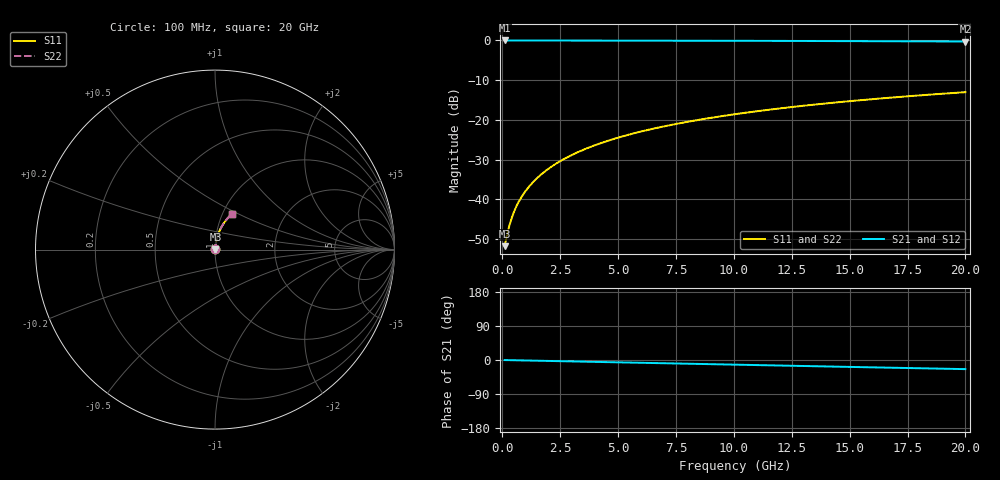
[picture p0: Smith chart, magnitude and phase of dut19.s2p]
! Touchstone file exported from HFSS 2026.1.0
!  File:  C:/ffzhzh/LocalFiles/Ansys_Project_Files/temp_train_BSMRDL_19_1782882004_13352.aedt
!  Generated:  01:01:23 PM Jul  1, 2026
!  Design:  BSMRDL
!  Project:  temp_train_BSMRDL_19_1782882004_13352
! Variables:
!  h_bsmrdl = 2.44um
!  h_ox = 20um
!  h_rdl = 5um
!  h_sub = 80um
!  h_tmrdl = 5um
!  h_tsv = 80um
!  h_via = 3um
!  l_bsmrdl = 323.57um
!  l_sub = 723.57um
!  l_tmrdl = 200um
!  m_sub = 200um
!  pitch = 47.77um
!  r_tsv = 6um
!  s_tmrdl = 10um
!  w_bsmrdl = 25.42um
!  w_sub = 500um
!  w_tmrdl = 12um
!  x_tsv_center1 = 206um
!  x_tsv_center2 = 554.99um
!  x_tsv_center3 = 766.99um
!  x_tsv_center4 = 1115.98um
!  x_tsv_center5 = 1327.98um
!  x_tsv_center6 = 1676.97um
# GHz S MA R 50.000000
! Terminal data exported
! Port[1] = BSM_RDL1_1_T1
! Port[2] = BSM_RDL1_1_T2
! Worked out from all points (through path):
!   200 points, 100 MHz to 20 GHz, reference 50 ohm
!   highest |S21| = -0.02 dB at 100 MHz (marker M1); lowest = -0.3 dB at 20 GHz (marker M2)
!   group delay of S21, straight-line fit = 3.35 ps
!   lowest |S11| = -51.8 dB at 100 MHz (marker M3), VSWR 1.01, Z = 50.2 + j0.135 ohm
!   |S11| at or under -10 dB: start of sweep to end of sweep
!   |S22| runs from -51.8 to -13.0 dB; largest |S21 - S12| = 3.5e-15
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0.1  0.002581 31.4  0.9978 -0.1  0.9978 -0.1  0.002581 31.4
! Gamma 0 0 0 0
! Port Impedance 50 0 50 0
0.2  0.003509 49.4  0.9977 -0.3  0.9977 -0.3  0.003509 49.4
0.3  0.004614 58.7  0.9976 -0.4  0.9976 -0.4  0.004614 58.7
0.4  0.005762 64.1  0.9975 -0.5  0.9975 -0.5  0.005762 64.1
0.5  0.006917 67.6  0.9974 -0.6  0.9974 -0.6  0.006917 67.6
0.6  0.008068 70.1  0.9973 -0.8  0.9973 -0.8  0.008068 70.1
0.8  0.01037 73.5  0.9972 -1.0  0.9972 -1.0  0.01037 73.5
1.1  0.01383 76.6  0.997 -1.4  0.997 -1.4  0.01383 76.6
1.3  0.01616 77.9  0.9969 -1.6  0.9969 -1.6  0.01616 77.9
1.6  0.01966 79.2  0.9968 -2.0  0.9968 -2.0  0.01966 79.2
2.1  0.02554 80.5  0.9966 -2.6  0.9966 -2.6  0.02554 80.5
2.7  0.03263 81.1  0.9963 -3.4  0.9963 -3.4  0.03263 81.1
3.5  0.04208 81.2  0.9959 -4.3  0.9959 -4.3  0.04208 81.2
4.2  0.05034 80.9  0.9954 -5.2  0.9954 -5.2  0.05034 80.9
5  0.05976 80.4  0.9947 -6.2  0.9947 -6.2  0.05976 80.4
5.9  0.07029 79.7  0.9938 -7.3  0.9938 -7.3  0.07029 79.7
6.8  0.08076 78.8  0.9928 -8.4  0.9928 -8.4  0.08076 78.8
8.3  0.09804 77.3  0.9909 -10.2  0.9909 -10.2  0.09804 77.3
10.1  0.1185 75.3  0.9883 -12.4  0.9883 -12.4  0.1185 75.3
13.4  0.1549 71.6  0.9824 -16.4  0.9824 -16.4  0.1549 71.6
16.7  0.1898 67.9  0.9756 -20.3  0.9756 -20.3  0.1898 67.9
20  0.2232 64.1  0.9679 -24.1  0.9679 -24.1  0.2232 64.2
